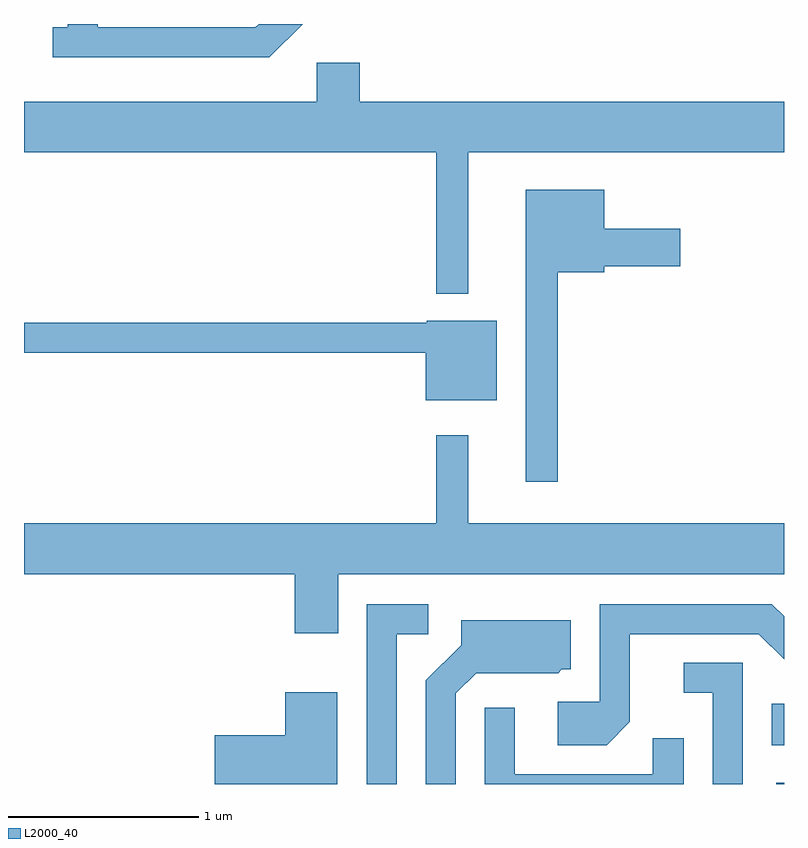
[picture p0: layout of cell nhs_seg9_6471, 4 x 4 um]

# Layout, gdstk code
import gdstk
lib = gdstk.Library(unit=1e-6, precision=1e-09)
def R(c, l, rs):  # rectangles x0, y0, x1, y1
    for r in rs: c.add(gdstk.rectangle(r[:2], r[2:], *l))
def P(c, l, *ps):  # polygons
    for p in ps: c.add(gdstk.Polygon(p, *l))
L2000_40 = (2000, 40)

nhs_seg9_6471 = lib.new_cell('nhs_seg9_6471')
R(nhs_seg9_6471, L2000_40, [(379.571,2048.432,379.611,2048.439), (379.546,2048.636,379.611,2048.854)])
P(nhs_seg9_6471, L2000_40, [(377.077,2052.432),(376.847,2052.432),(376.829,2052.414),(375.999,2052.414),(375.999,2052.432),(375.841,2052.432),(375.841,2052.414),(375.763,2052.414),(375.763,2052.256),(376.902,2052.256)],
  [(377.949,2051.756),(379.611,2051.756),(379.611,2052.024),(377.379,2052.024),(377.379,2052.229),(377.151,2052.229),(377.151,2052.024),(375.611,2052.024),(375.611,2051.756),(377.781,2051.756),(377.781,2051.012),(377.949,2051.012)],
  [(378.419,2051.126),(378.664,2051.126),(378.664,2051.156),(379.064,2051.156),(379.064,2051.354),(378.664,2051.354),(378.664,2051.559),(378.251,2051.559),(378.251,2050.023),(378.419,2050.023)],
  [(378.099,2050.869),(377.73,2050.869),(377.73,2050.859),(375.611,2050.859),(375.611,2050.701),(377.726,2050.701),(377.726,2050.451),(378.099,2050.451)],
  [(377.264,2049.536),(379.611,2049.536),(379.611,2049.804),(377.949,2049.804),(377.949,2050.268),(377.781,2050.268),(377.781,2049.804),(375.611,2049.804),(375.611,2049.536),(377.036,2049.536),(377.036,2049.226),(377.264,2049.226)],
  [(378.799,2048.759),(378.799,2049.221),(379.479,2049.221),(379.611,2049.089),(379.611,2049.315),(379.547,2049.379),(378.641,2049.379),(378.641,2048.864),(378.421,2048.864),(378.421,2048.636),(378.677,2048.636)],
  [(377.574,2049.221),(377.738,2049.221),(377.738,2049.379),(377.416,2049.379),(377.416,2048.432),(377.574,2048.432)],
  [(377.884,2048.909),(377.992,2049.016),(378.422,2049.016),(378.442,2049.036),(378.489,2049.036),(378.489,2049.294),(377.911,2049.294),(377.911,2049.162),(377.726,2048.977),(377.726,2048.432),(377.884,2048.432)],
  [(379.394,2049.069),(379.083,2049.069),(379.083,2048.911),(379.236,2048.911),(379.236,2048.432),(379.394,2048.432)],
  [(377.259,2048.914),(376.986,2048.914),(376.986,2048.689),(376.616,2048.689),(376.616,2048.432),(377.259,2048.432)],
  [(379.084,2048.673),(378.921,2048.673),(378.921,2048.484),(378.194,2048.484),(378.194,2048.833),(378.036,2048.833),(378.036,2048.432),(379.084,2048.432)])

lib.write_gds('nhs_seg9_6471.gds')
